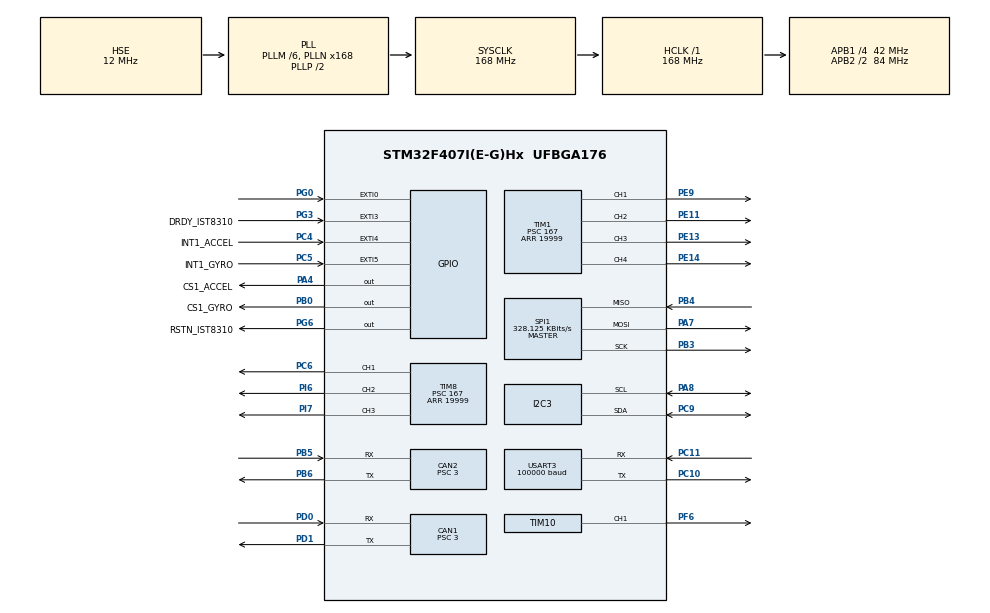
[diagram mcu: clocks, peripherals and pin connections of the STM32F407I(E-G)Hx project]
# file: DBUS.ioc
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CAN1.BS1=CAN_BS1_10TQ
CAN1.BS2=CAN_BS2_3TQ
CAN1.CalculateTimeQuantum=71.42857142857143
CAN1.Prescaler=3
CAN2.BS1=CAN_BS1_10TQ
CAN2.BS2=CAN_BS2_3TQ
CAN2.CalculateTimeQuantum=71.42857142857143
CAN2.Prescaler=3
Dma.Request0=USART3_RX
Dma.Request1=SPI1_RX
Dma.Request2=SPI1_TX
Dma.SPI1_RX.1.Direction=DMA_PERIPH_TO_MEMORY
Dma.SPI1_RX.1.FIFOMode=DMA_FIFOMODE_DISABLE
Dma.SPI1_RX.1.Instance=DMA2_Stream2
Dma.SPI1_RX.1.MemDataAlignment=DMA_MDATAALIGN_BYTE
Dma.SPI1_RX.1.MemInc=DMA_MINC_ENABLE
Dma.SPI1_RX.1.Mode=DMA_NORMAL
Dma.SPI1_RX.1.PeriphDataAlignment=DMA_PDATAALIGN_BYTE
Dma.SPI1_RX.1.PeriphInc=DMA_PINC_DISABLE
Dma.SPI1_RX.1.Priority=DMA_PRIORITY_VERY_HIGH
Dma.SPI1_TX.2.Direction=DMA_MEMORY_TO_PERIPH
Dma.SPI1_TX.2.FIFOMode=DMA_FIFOMODE_DISABLE
Dma.SPI1_TX.2.Instance=DMA2_Stream3
Dma.SPI1_TX.2.MemDataAlignment=DMA_MDATAALIGN_BYTE
Dma.SPI1_TX.2.MemInc=DMA_MINC_ENABLE
Dma.SPI1_TX.2.Mode=DMA_NORMAL
Dma.SPI1_TX.2.PeriphDataAlignment=DMA_PDATAALIGN_BYTE
Dma.SPI1_TX.2.PeriphInc=DMA_PINC_DISABLE
Dma.SPI1_TX.2.Priority=DMA_PRIORITY_HIGH
Dma.USART3_RX.0.Direction=DMA_PERIPH_TO_MEMORY
Dma.USART3_RX.0.FIFOMode=DMA_FIFOMODE_DISABLE
Dma.USART3_RX.0.Instance=DMA1_Stream1
Dma.USART3_RX.0.MemDataAlignment=DMA_MDATAALIGN_BYTE
Dma.USART3_RX.0.MemInc=DMA_MINC_ENABLE
Dma.USART3_RX.0.Mode=DMA_CIRCULAR
Dma.USART3_RX.0.PeriphDataAlignment=DMA_PDATAALIGN_BYTE
Dma.USART3_RX.0.PeriphInc=DMA_PINC_DISABLE
Dma.USART3_RX.0.Priority=DMA_PRIORITY_VERY_HIGH
FREERTOS.INCLUDE_eTaskGetState=1
FREERTOS.INCLUDE_pcTaskGetTaskName=1
FREERTOS.INCLUDE_uxTaskGetStackHighWaterMark=1
FREERTOS.INCLUDE_xQueueGetMutexHolder=1
FREERTOS.INCLUDE_xSemaphoreGetMutexHolder=1
FREERTOS.INCLUDE_xTaskAbortDelay=1
FREERTOS.INCLUDE_xTaskGetCurrentTaskHandle=1
FREERTOS.INCLUDE_xTaskGetHandle=1
FREERTOS.Tasks01=defaultTask,0,128,StartDefaultTask,Default,NULL,Dynamic,NULL,NULL
FREERTOS.configENABLE_FPU=1
I2C3.I2C_Mode=I2C_Fast
Mcu.Family=STM32F4
Mcu.Name=STM32F407I(E-G)Hx
Mcu.Package=UFBGA176
NVIC.CAN1_RX0_IRQn=true\:5\:0\:false\:false\:true\:true\:true\:true
NVIC.CAN2_RX0_IRQn=true\:5\:0\:false\:false\:true\:true\:true\:true
NVIC.DMA1_Stream1_IRQn=true\:5\:0\:false\:false\:false\:true\:false\:false
NVIC.DMA2_Stream2_IRQn=true\:5\:0\:false\:false\:false\:false\:false\:false
NVIC.DMA2_Stream3_IRQn=true\:5\:0\:false\:false\:false\:true\:false\:false
NVIC.EXTI0_IRQn=true\:5\:0\:false\:false\:true\:true\:true\:true
NVIC.EXTI3_IRQn=true\:5\:0\:false\:false\:true\:true\:true\:true
NVIC.EXTI4_IRQn=true\:5\:0\:false\:false\:true\:true\:true\:true
NVIC.EXTI9_5_IRQn=true\:5\:0\:false\:false\:true\:true\:true\:true
NVIC.PriorityGroup=NVIC_PRIORITYGROUP_4
NVIC.TIM2_IRQn=true\:0\:0\:false\:false\:true\:false\:false\:true
NVIC.TimeBase=TIM2_IRQn
NVIC.TimeBaseIP=TIM2
NVIC.USART3_IRQn=true\:5\:0\:false\:false\:false\:true\:true\:false
PA13.Mode=Serial_Wire
PA13.Signal=SYS_JTMS-SWDIO
PA14.Mode=Serial_Wire
PA14.Signal=SYS_JTCK-SWCLK
PA4.GPIO_Label=CS1_ACCEL
PA4.GPIO_PuPd=GPIO_PULLUP
PA4.GPIO_Speed=GPIO_SPEED_FREQ_HIGH
PA4.PinState=GPIO_PIN_SET
PA4.Signal=GPIO_Output
PA7.Mode=Full_Duplex_Master
PA7.Signal=SPI1_MOSI
PA8.Mode=I2C
PA8.Signal=I2C3_SCL
PB0.GPIO_Label=CS1_GYRO
PB0.GPIO_PuPd=GPIO_PULLUP
PB0.GPIO_Speed=GPIO_SPEED_FREQ_HIGH
PB0.PinState=GPIO_PIN_SET
PB0.Signal=GPIO_Output
PB3.Mode=Full_Duplex_Master
PB3.Signal=SPI1_SCK
PB4.Mode=Full_Duplex_Master
PB4.Signal=SPI1_MISO
PB5.Mode=Slave
PB5.Signal=CAN2_RX
PB6.Mode=Slave
PB6.Signal=CAN2_TX
PC10.Mode=Asynchronous
PC10.Signal=USART3_TX
PC11.Mode=Asynchronous
PC11.Signal=USART3_RX
PC4.GPIO_Label=INT1_ACCEL
PC4.GPIO_ModeDefaultEXTI=GPIO_MODE_IT_FALLING
PC4.GPIO_PuPd=GPIO_PULLUP
PC4.Signal=GPXTI4
PC5.GPIO_Label=INT1_GYRO
PC5.GPIO_ModeDefaultEXTI=GPIO_MODE_IT_FALLING
PC5.GPIO_PuPd=GPIO_PULLUP
PC5.Signal=GPXTI5
PC6.GPIO_PuPd=GPIO_PULLUP
PC6.GPIO_Speed=GPIO_SPEED_FREQ_HIGH
PC6.Signal=S_TIM8_CH1
PC9.Mode=I2C
PC9.Signal=I2C3_SDA
PD0.Mode=Master
PD0.Signal=CAN1_RX
PD1.Mode=Master
PD1.Signal=CAN1_TX
PE11.GPIO_PuPd=GPIO_PULLUP
PE11.GPIO_Speed=GPIO_SPEED_FREQ_HIGH
PE11.Signal=S_TIM1_CH2
PE13.GPIO_PuPd=GPIO_PULLUP
PE13.GPIO_Speed=GPIO_SPEED_FREQ_HIGH
PE13.Signal=S_TIM1_CH3
PE14.GPIO_PuPd=GPIO_PULLUP
PE14.GPIO_Speed=GPIO_SPEED_FREQ_HIGH
PE14.Signal=S_TIM1_CH4
PE9.GPIO_PuPd=GPIO_PULLUP
PE9.GPIO_Speed=GPIO_SPEED_FREQ_HIGH
PE9.Signal=S_TIM1_CH1
PF6.Signal=S_TIM10_CH1
PG0.GPIO_ModeDefaultEXTI=GPIO_MODE_IT_FALLING
PG0.GPIO_PuPd=GPIO_PULLUP
PG0.Signal=GPXTI0
PG3.GPIO_Label=DRDY_IST8310
PG3.GPIO_ModeDefaultEXTI=GPIO_MODE_IT_FALLING
PG3.GPIO_PuPd=GPIO_PULLUP
PG3.Signal=GPXTI3
PG6.GPIO_Label=RSTN_IST8310
PG6.GPIO_ModeDefaultOutputPP=GPIO_MODE_OUTPUT_PP
PG6.GPIO_PuPd=GPIO_PULLUP
PG6.GPIO_Speed=GPIO_SPEED_FREQ_MEDIUM
PG6.PinState=GPIO_PIN_SET
PG6.Signal=GPIO_Output
PH0-OSC_IN.Mode=HSE-External-Oscillator
PH0-OSC_IN.Signal=RCC_OSC_IN
PH1-OSC_OUT.Mode=HSE-External-Oscillator
PH1-OSC_OUT.Signal=RCC_OSC_OUT
PI6.GPIO_PuPd=GPIO_PULLUP
PI6.GPIO_Speed=GPIO_SPEED_FREQ_HIGH
PI6.Signal=S_TIM8_CH2
PI7.GPIO_PuPd=GPIO_PULLUP
PI7.GPIO_Speed=GPIO_SPEED_FREQ_HIGH
PI7.Signal=S_TIM8_CH3
ProjectManager.HeapSize=0x2000
ProjectManager.StackSize=0x2000
ProjectManager.TargetToolchain=SW4STM32
RCC.48MHZClocksFreq_Value=48000000
RCC.AHBFreq_Value=168000000
RCC.APB1CLKDivider=RCC_HCLK_DIV4
RCC.APB1Freq_Value=42000000
RCC.APB1TimFreq_Value=84000000
RCC.APB2CLKDivider=RCC_HCLK_DIV2
RCC.APB2Freq_Value=84000000
RCC.APB2TimFreq_Value=168000000
RCC.CortexFreq_Value=168000000
RCC.HCLKFreq_Value=168000000
RCC.HSE_VALUE=12000000
RCC.HSI_VALUE=16000000
RCC.LSE_VALUE=32768
RCC.PLLM=6
RCC.PLLN=168
RCC.PLLQ=7
RCC.PLLSourceVirtual=RCC_PLLSOURCE_HSE
RCC.RCC_RTC_Clock_SourceVirtual=RCC_RTCCLKSOURCE_HSE_DIV30
RCC.RCC_RTC_Clock_Source_FROM_HSE=RCC_RTCCLKSOURCE_HSE_DIV30
RCC.SYSCLKFreq_VALUE=168000000
RCC.SYSCLKSource=RCC_SYSCLKSOURCE_PLLCLK
RCC.VCOOutputFreq_Value=336000000
SH.S_TIM10_CH1.0=TIM10_CH1,PWM Generation1 CH1
SH.S_TIM1_CH1.0=TIM1_CH1,PWM Generation1 CH1
SH.S_TIM1_CH2.0=TIM1_CH2,PWM Generation2 CH2
SH.S_TIM1_CH3.0=TIM1_CH3,PWM Generation3 CH3
SH.S_TIM1_CH4.0=TIM1_CH4,PWM Generation4 CH4
SH.S_TIM8_CH1.0=TIM8_CH1,PWM Generation1 CH1
SH.S_TIM8_CH2.0=TIM8_CH2,PWM Generation2 CH2
SH.S_TIM8_CH3.0=TIM8_CH3,PWM Generation3 CH3
SPI1.BaudRatePrescaler=SPI_BAUDRATEPRESCALER_256
SPI1.CLKPhase=SPI_PHASE_2EDGE
SPI1.CLKPolarity=SPI_POLARITY_HIGH
SPI1.CalculateBaudRate=328.125 KBits/s
SPI1.Direction=SPI_DIRECTION_2LINES
SPI1.Mode=SPI_MODE_MASTER
SPI1.VirtualType=VM_MASTER
TIM1.Channel-PWM\ Generation1\ CH1=TIM_CHANNEL_1
TIM1.Channel-PWM\ Generation2\ CH2=TIM_CHANNEL_2
TIM1.Channel-PWM\ Generation3\ CH3=TIM_CHANNEL_3
TIM1.Channel-PWM\ Generation4\ CH4=TIM_CHANNEL_4
TIM1.Period=19999
TIM1.Prescaler=167
TIM1.Pulse-PWM\ Generation1\ CH1=2000
TIM1.Pulse-PWM\ Generation2\ CH2=2000
TIM1.Pulse-PWM\ Generation3\ CH3=2000
TIM1.Pulse-PWM\ Generation4\ CH4=2000
TIM10.Channel=TIM_CHANNEL_1
TIM10.Period=4999
TIM8.Channel-PWM\ Generation1\ CH1=TIM_CHANNEL_1
TIM8.Channel-PWM\ Generation2\ CH2=TIM_CHANNEL_2
TIM8.Channel-PWM\ Generation3\ CH3=TIM_CHANNEL_3
TIM8.Period=19999
TIM8.Prescaler=167
TIM8.Pulse-PWM\ Generation1\ CH1=2000
TIM8.Pulse-PWM\ Generation2\ CH2=2000
TIM8.Pulse-PWM\ Generation3\ CH3=2000
USART3.BaudRate=100000
USART3.Parity=PARITY_EVEN
USART3.VirtualMode=VM_ASYNC
USART3.WordLength=WORDLENGTH_9B
VP_FREERTOS_VS_CMSIS_V1.Mode=CMSIS_V1
VP_SYS_VS_tim2.Mode=TIM2
VP_TIM10_VS_ClockSourceINT.Mode=Enable_Timer
VP_TIM1_VS_ClockSourceINT.Mode=Internal
VP_TIM8_VS_ClockSourceINT.Mode=Internal
board=custom

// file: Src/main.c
/* USER CODE BEGIN Header */
/**
  ******************************************************************************
  * @file           : main.c
  * @brief          : Main program body
  ******************************************************************************
  * @attention
  *
  * <h2><center>&copy; Copyright (c) 2020 STMicroelectronics.
  * All rights reserved.</center></h2>
  *
  * This software component is licensed by ST under BSD 3-Clause license,
  * the "License"; You may not use this file except in compliance with the
  * License. You may obtain a copy of the License at:
  *                        opensource.org/licenses/BSD-3-Clause
  *
  ******************************************************************************
  */
/* USER CODE END Header */

#include "main.h"
#include "cmsis_os.h"
#include "can.h"
#include "dma.h"
#include "i2c.h"
#include "spi.h"
#include "tim.h"
#include "usart.h"
#include "gpio.h"

/* USER CODE BEGIN Includes */
#include "bsp_can.h"
#include "remote_control.h"
#include "chassis_task.h"
#include "bsp_delay.h"
/* USER CODE END Includes */

void SystemClock_Config(void);
void MX_FREERTOS_Init(void);

int main(void)
{

  /* MCU Configuration--------------------------------------------------------*/

  /* Reset of all peripherals, Initializes the Flash interface and the Systick. */
  HAL_Init();

  /* Configure the system clock */
  SystemClock_Config();

  /* Initialize all configured peripherals */
  MX_GPIO_Init();
  MX_DMA_Init();
  MX_TIM8_Init();
  MX_TIM1_Init();
  MX_USART3_UART_Init();
  MX_CAN1_Init();
  MX_CAN2_Init();
  MX_I2C3_Init();
  MX_SPI1_Init();
  MX_TIM10_Init();
  /* USER CODE BEGIN 2 */
		delay_init();
    can_filter_init();
    remote_control_init();
  /* USER CODE END 2 */

  /* Call init function for freertos objects (in freertos.c) */
  MX_FREERTOS_Init();
  /* Start scheduler */
  osKernelStart();

  /* We should never get here as control is now taken by the scheduler */
  /* Infinite loop */
  while (1)
  {

  }
}

void SystemClock_Config(void)
{
  RCC_OscInitTypeDef RCC_OscInitStruct = {0};
  RCC_ClkInitTypeDef RCC_ClkInitStruct = {0};

  /** Configure the main internal regulator output voltage
  */
  __HAL_RCC_PWR_CLK_ENABLE();
  __HAL_PWR_VOLTAGESCALING_CONFIG(PWR_REGULATOR_VOLTAGE_SCALE1);
  /** Initializes the CPU, AHB and APB busses clocks
  */
  RCC_OscInitStruct.OscillatorType = RCC_OSCILLATORTYPE_HSE;
  RCC_OscInitStruct.HSEState = RCC_HSE_ON;
  RCC_OscInitStruct.PLL.PLLState = RCC_PLL_ON;
  RCC_OscInitStruct.PLL.PLLSource = RCC_PLLSOURCE_HSE;
  RCC_OscInitStruct.PLL.PLLM = 6;
  RCC_OscInitStruct.PLL.PLLN = 168;
  RCC_OscInitStruct.PLL.PLLP = RCC_PLLP_DIV2;
  RCC_OscInitStruct.PLL.PLLQ = 7;
  if (HAL_RCC_OscConfig(&RCC_OscInitStruct) != HAL_OK)
  {
    Error_Handler();
  }
  /** Initializes the CPU, AHB and APB busses clocks
  */
  RCC_ClkInitStruct.ClockType = RCC_CLOCKTYPE_HCLK|RCC_CLOCKTYPE_SYSCLK
                              |RCC_CLOCKTYPE_PCLK1|RCC_CLOCKTYPE_PCLK2;
  RCC_ClkInitStruct.SYSCLKSource = RCC_SYSCLKSOURCE_PLLCLK;
  RCC_ClkInitStruct.AHBCLKDivider = RCC_SYSCLK_DIV1;
  RCC_ClkInitStruct.APB1CLKDivider = RCC_HCLK_DIV4;
  RCC_ClkInitStruct.APB2CLKDivider = RCC_HCLK_DIV2;

  if (HAL_RCC_ClockConfig(&RCC_ClkInitStruct, FLASH_LATENCY_5) != HAL_OK)
  {
    Error_Handler();
  }
}

 /**
  * @brief  Period elapsed callback in non blocking mode
  * @note   This function is called  when TIM2 interrupt took place, inside
  * HAL_TIM_IRQHandler(). It makes a direct call to HAL_IncTick() to increment
  * a global variable "uwTick" used as application time base.
  * @param  htim : TIM handle
  * @retval None
  */
void HAL_TIM_PeriodElapsedCallback(TIM_HandleTypeDef *htim)
{
  if (htim->Instance == TIM2) {
    HAL_IncTick();
  }
}

void Error_Handler(void)
{
}

/************************ (C) COPYRIGHT STMicroelectronics *****END OF FILE****/

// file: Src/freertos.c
/* USER CODE BEGIN Header */
/**
  ******************************************************************************
  * File Name          : freertos.c
  * Description        : Code for freertos applications
  ******************************************************************************
  * @attention
  *
  * <h2><center>&copy; Copyright (c) 2019 STMicroelectronics.
  * All rights reserved.</center></h2>
  *
  * This software component is licensed by ST under Ultimate Liberty license
  * SLA0044, the "License"; You may not use this file except in compliance with
  * the License. You may obtain a copy of the License at:
  *                             www.st.com/SLA0044
  *
  ******************************************************************************
  */
/* USER CODE END Header */

#include "FreeRTOS.h"
#include "task.h"
#include "main.h"
#include "cmsis_os.h"

/* USER CODE BEGIN Includes */
#include "chassis_task.h"
#include "INS_task.h"
/* USER CODE END Includes */

/* USER CODE BEGIN PTD */

osThreadId imuTaskHandle;
osThreadId chassisTaskHandle;

/* USER CODE END PTD */

osThreadId defaultTaskHandle;

void StartDefaultTask(void const * argument);

void MX_FREERTOS_Init(void); /* (MISRA C 2004 rule 8.1) */

/* GetIdleTaskMemory prototype (linked to static allocation support) */
void vApplicationGetIdleTaskMemory( StaticTask_t **ppxIdleTaskTCBBuffer, StackType_t **ppxIdleTaskStackBuffer, uint32_t *pulIdleTaskStackSize );

/* USER CODE BEGIN GET_IDLE_TASK_MEMORY */
static StaticTask_t xIdleTaskTCBBuffer;
static StackType_t xIdleStack[configMINIMAL_STACK_SIZE];

void vApplicationGetIdleTaskMemory( StaticTask_t **ppxIdleTaskTCBBuffer, StackType_t **ppxIdleTaskStackBuffer, uint32_t *pulIdleTaskStackSize )
{
  *ppxIdleTaskTCBBuffer = &xIdleTaskTCBBuffer;
  *ppxIdleTaskStackBuffer = &xIdleStack[0];
  *pulIdleTaskStackSize = configMINIMAL_STACK_SIZE;
  /* place for user code */
}
/* USER CODE END GET_IDLE_TASK_MEMORY */

void MX_FREERTOS_Init(void) {

  /* Create the thread(s) */
  /* definition and creation of defaultTask */
  osThreadDef(defaultTask, StartDefaultTask, osPriorityNormal, 0, 128);
  defaultTaskHandle = osThreadCreate(osThread(defaultTask), NULL);

  /* USER CODE BEGIN RTOS_THREADS */
  /* add threads, ... */

	    osThreadDef(ChassisTask, chassis_task, osPriorityAboveNormal, 0, 512);
			chassisTaskHandle = osThreadCreate(osThread(ChassisTask), NULL);
    osThreadDef(imuTask, INS_task, osPriorityRealtime, 0, 1024);
    imuTaskHandle = osThreadCreate(osThread(imuTask), NULL);

  /* USER CODE END RTOS_THREADS */

}

void StartDefaultTask(void const * argument)
{
  for(;;)
  {
    osDelay(1);
  }
}

/************************ (C) COPYRIGHT STMicroelectronics *****END OF FILE****/
